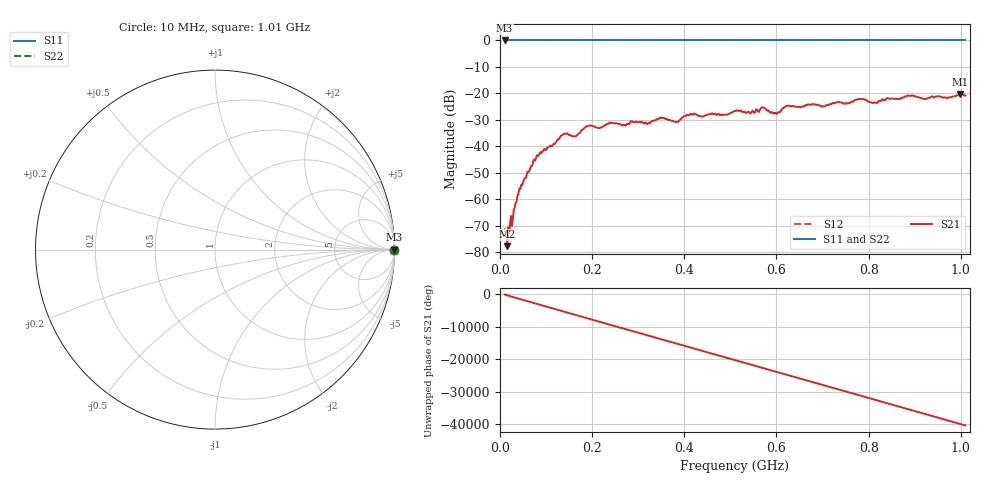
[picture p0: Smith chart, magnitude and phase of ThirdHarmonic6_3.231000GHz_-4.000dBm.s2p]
! 8/17/2025 9:53:25 AM
! C:\ANRITSUVNA\TEMP\TEMP.S2P
! CHANNEL.1
! TR.MEASUREMENT
! RAW.DATA
! RF.CORRECTION.OFF
! AVERAGING.OFF
! IF.BANDWIDTH: 5KHZ
! SWEEPTYPE:  FREQ.SWEEP(Linear)
! Reference Plane Port Info
! PORT:  PORT1  PORT2
! DISTANCE:  0  m  0  m
! TIME:  0  s  0  s
! PHASE.OFFSET:  0  deg.  0  deg.
! LOSS:  0  dB  0  dB
! REF.LOSS:  0  dB  0  dB
! REF.FREQ:  0  Hz  0  Hz
! Power Info
! POWER:  -20  dBm  -20  dBm
! EFF.POWER:  -20  dBm  -20  dBm
! SOURCE.ATTEN:  0  dB  0  dB
! TEST.ATTEN:  0  dB  0  dB
# GHZ S RI R 50.0
! FREQ.GHZ  S11RE  S11IM  S21RE  S21IM  S12RE  S12IM  S22RE  S22IM
!; PortSelection: Port_12
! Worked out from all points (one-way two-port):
!   501 points, 10 MHz to 1.01 GHz, reference 50 ohm
!   highest |S21| = -20.20 dB at 998 MHz (marker M1); lowest = -77.7 dB at 16 MHz (marker M2)
!   lowest |S11| = 0.0 dB at 10 MHz (marker M3)
!   |S11| at or under -10 dB: nowhere
!   |S22| runs from 0.0 to 0.0 dB; largest |S21 - S12| = 1.1
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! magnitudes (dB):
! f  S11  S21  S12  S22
! 10 MHz  0.0  -71.3  0.0  0.0
! 16 MHz  0.0  -77.7  0.0  0.0
! 42 MHz  0.0  -55.9  0.0  0.0
! 76 MHz  0.0  -45.4  0.0  0.0
! 136 MHz  0.0  -35.7  0.0  0.0
! 162 MHz  0.0  -36.3  0.0  0.0
! 178 MHz  0.0  -33.8  0.0  0.0
! 194 MHz  0.0  -32.1  0.0  0.0
! 322 MHz  0.0  -31.3  0.0  0.0
! 344 MHz  0.0  -29.7  0.0  0.0
! 382 MHz  0.0  -30.7  0.0  0.0
! 410 MHz  0.0  -28.3  0.0  0.0
! 510 MHz  0.0  -26.6  0.0  0.0
! 570 MHz  0.0  -25.3  0.0  0.0
! 598 MHz  0.0  -27.3  0.0  0.0
! 622 MHz  0.0  -24.7  0.0  0.0
! 678 MHz  0.0  -24.0  0.0  0.0
! 780 MHz  0.0  -22.2  0.0  0.0
! 814 MHz  0.0  -23.4  0.0  0.0
! 844 MHz  0.0  -22.0  0.0  0.0
! 998 MHz  0.0  -20.2  0.0  0.0
! 1.01 GHz  0.0  -20.8  0.0  0.0
